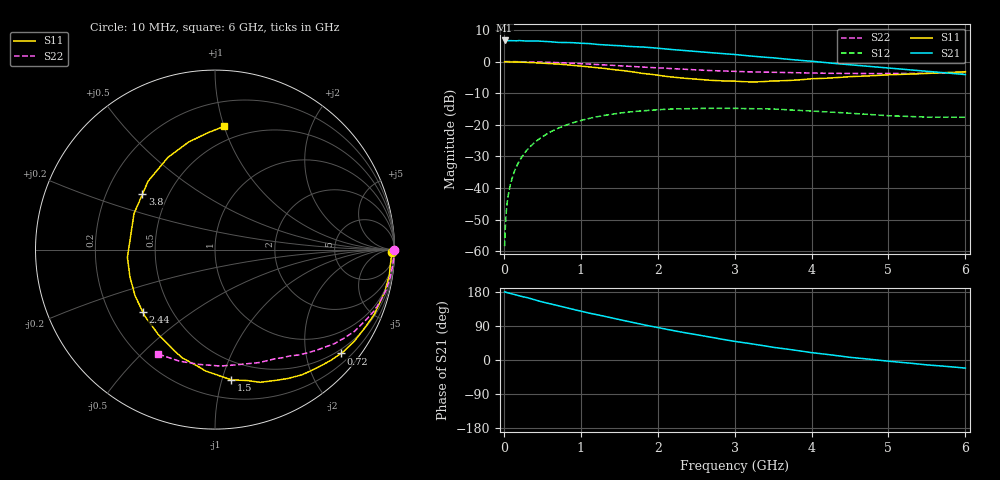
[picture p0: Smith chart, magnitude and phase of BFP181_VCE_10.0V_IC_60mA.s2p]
! Infineon Technologies  Discrete & RF Semiconductors
! BFP181
! VCE = 10.0V,  IC =  60 mA
! Common Emitter S-Parameters:  Jan 2016
# GHz  S  MA  R  50
!  f  S11  S21  S12  S22
! GHz  MAG  ANG  MAG  ANG  MAG  ANG  MAG  ANG
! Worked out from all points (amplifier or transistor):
!   210 points, 10 MHz to 6 GHz, reference 50 ohm
!   highest |S21| = 6.7 dB at 10 MHz (marker M1)
!   |S21| within 3 dB of that: start of sweep to 2.251 GHz
!   unconditionally stable (mu >= 1): 3.667 GHz to end of sweep
!   at 185 MHz: K = 0.06, MSG = 19.4 dB, |S12| = -32.2 dB
!   at 1.52 GHz: K = 0.45, MSG = 10.6 dB, |S12| = -16.3 dB
!   at 6 GHz: K = 1.39, MAG = 3.0 dB, |S12| = -17.6 dB
!   S11 on the Smith chart (normalised r, x): 10 MHz: open; 720 MHz: 0.41, -2.73; 1.5 GHz: 0.34, -1.07; 2.44 GHz: 0.34, -0.33; 3.8 GHz: 0.36, +0.30; 6 GHz: 0.38, +1.00
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0.01  0.9849 -0.7  2.153 179.6  0.0012 88.5  0.9993 -0.2
0.025  0.9923 -1.3  2.145 179.0  0.0032 84.2  0.9957 -0.7
0.05  0.983 -2.6  2.149 177.3  0.0068 90.0  0.9975 -1.4
0.095  0.9805 -5.2  2.134 175.1  0.0126 83.9  0.9968 -2.6
0.17  0.9795 -9.5  2.129 171.1  0.0226 82.8  0.9949 -4.6
0.28  0.9706 -15.5  2.116 165.6  0.037 79.0  0.9901 -7.6
0.4  0.958 -22.2  2.123 158.7  0.0524 74.5  0.9849 -10.8
0.72  0.9094 -39.5  2.005 142.5  0.0895 62.1  0.9578 -19.1
1.02  0.844 -56.3  1.942 128.0  0.1184 51.3  0.9212 -26.2
1.1  0.8246 -60.6  1.931 124.1  0.1254 48.7  0.9114 -28.0
1.5  0.7318 -82.8  1.788 106.7  0.1523 36.4  0.8587 -36.3
1.8  0.649 -100.3  1.696 93.4  0.1659 28.5  0.8179 -41.7
2.02  0.6022 -113.0  1.612 84.7  0.1732 23.0  0.7915 -45.3
2.44  0.5315 -139.1  1.463 69.1  0.1804 13.4  0.7431 -52.4
2.8  0.4977 -162.3  1.348 56.1  0.1823 6.5  0.7115 -57.8
3.1  0.4807 179.4  1.256 46.4  0.1804 1.2  0.6906 -62.3
3.5  0.4937 156.1  1.145 33.5  0.1775 -4.9  0.6762 -68.5
3.8  0.5087 142.6  1.057 25.5  0.17 -8.2  0.6621 -73.8
4.1  0.538 130.6  0.983 17.2  0.1626 -11.2  0.653 -79.4
4.5  0.5769 117.0  0.889 7.0  0.1522 -14.2  0.6494 -87.3
5.1  0.6215 101.9  0.768 -5.0  0.1374 -14.5  0.6453 -99.6
6  0.6879 85.9  0.622 -21.3  0.1317 -9.2  0.6628 -118.8
